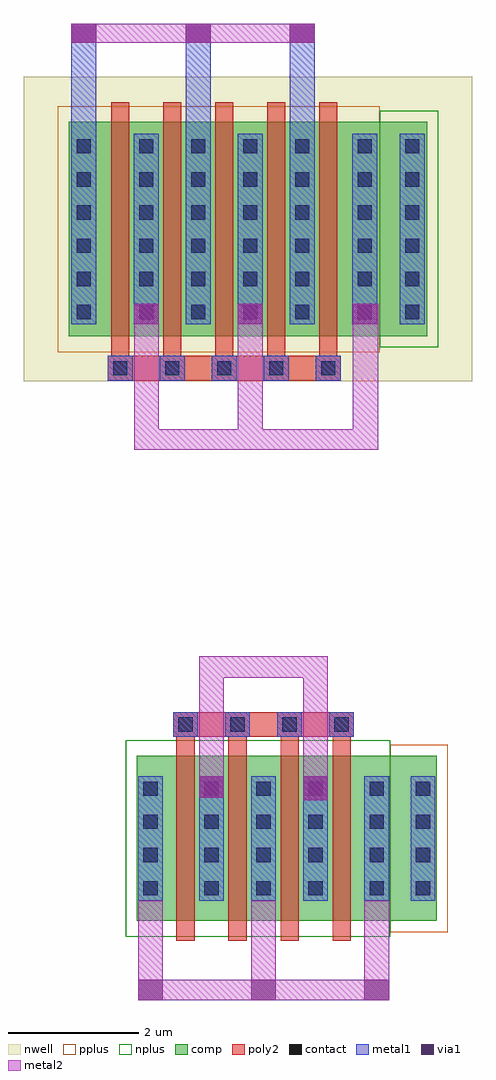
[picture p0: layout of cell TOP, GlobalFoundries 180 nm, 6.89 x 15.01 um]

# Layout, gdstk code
import gdstk
lib = gdstk.Library(unit=1e-6, precision=5e-09)
def R(c, l, rs):  # rectangles x0, y0, x1, y1
    for r in rs: c.add(gdstk.rectangle(r[:2], r[2:], *l))
def A(c, l, x, y, w, h, nx, ny, dx, dy):  # array of equal rectangles
    R(c, l, [(x+i*dx, y+j*dy, x+i*dx+w, y+j*dy+h) for i in range(nx) for j in range(ny)])
nwell = (21, 0)
comp = (22, 0)
poly2 = (30, 0)
pplus = (31, 0)
nplus = (32, 0)
contact = (33, 0)
metal1 = (34, 0)
via1 = (35, 0)
metal2 = (36, 0)

nfet_1 = lib.new_cell('nfet$1')
R(nfet_1, comp, [(-0.42,0,0,2.54), (0,0,3.06,2.54), (3.06,0,3.48,2.54), (3.48,0,4.19,2.54)])
A(nfet_1, poly2, 0.19, -0.3, 0.28, 3.14, 4, 1, 0.8, 0)
A(nfet_1, poly2, 0.15, 2.84, 0.36, 0.36, 4, 1, 0.8, 0)
R(nfet_1, pplus, [(3.48,-0.17,4.36,2.71)])
R(nfet_1, nplus, [(-0.59,-0.24,3.48,2.78)])
A(nfet_1, contact, -0.32, 0.395, 0.22, 0.22, 1, 4, 0, 0.51)
A(nfet_1, contact, 0.62, 0.395, 0.22, 0.22, 3, 4, 0.8, 0.51)
A(nfet_1, contact, 3.16, 0.395, 0.22, 0.22, 1, 4, 0, 0.51)
A(nfet_1, contact, 3.87, 0.395, 0.22, 0.22, 1, 4, 0, 0.51)
A(nfet_1, contact, 0.22, 2.91, 0.22, 0.22, 4, 1, 0.8, 0)
A(nfet_1, metal1, 0.54, 0.315, 0.38, 1.91, 3, 1, 0.8, 0)
A(nfet_1, metal1, 0.14, 2.83, 0.38, 0.38, 4, 1, 0.8, 0)
R(nfet_1, metal1, [(-0.4,0.315,-0.02,2.225), (3.08,0.315,3.46,2.225), (3.79,0.315,4.17,2.225)])

pfet = lib.new_cell('pfet')
R(pfet, nwell, [(-1.15,-0.69,5.74,3.99)])
R(pfet, comp, [(-0.46,0,0,3.3), (0,0,3.86,3.3), (3.86,0,4.32,3.3), (4.32,0,5.05,3.3)])
A(pfet, poly2, 0.14, -0.68, 0.38, 0.38, 5, 1, 0.8, 0)
A(pfet, poly2, 0.19, -0.3, 0.28, 3.9, 5, 1, 0.8, 0)
R(pfet, pplus, [(-0.63,-0.24,4.32,3.54)])
R(pfet, nplus, [(4.32,-0.17,5.22,3.47)])
A(pfet, contact, 0.22, -0.6, 0.22, 0.22, 5, 1, 0.8, 0)
A(pfet, contact, -0.34, 0.265, 0.22, 0.22, 1, 6, 0, 0.51)
A(pfet, contact, 0.62, 0.265, 0.22, 0.22, 4, 6, 0.8, 0.51)
A(pfet, contact, 3.98, 0.265, 0.22, 0.22, 1, 6, 0, 0.51)
A(pfet, contact, 4.71, 0.265, 0.22, 0.22, 1, 6, 0, 0.51)
A(pfet, metal1, 0.14, -0.68, 0.38, 0.38, 5, 1, 0.8, 0)
A(pfet, metal1, 0.54, 0.185, 0.38, 2.93, 4, 1, 0.8, 0)
R(pfet, metal1, [(-0.42,0.185,-0.04,3.115), (3.9,0.185,4.28,3.115), (4.63,0.185,5.01,3.115)])

top = lib.new_cell('TOP')
R(top, poly2, [(-51.145,12.31,-48.365,12.69), (-52.15,17.79,-48.57,18.17)])
R(top, metal1, [(-52.71,21.585,-52.33,23.275), (-50.95,21.585,-50.57,23.275), (-49.35,21.585,-48.97,23.275)])
R(top, via1, [(-51.685,8.265,-51.305,8.58), (-51.685,8.265,-51.305,8.58), (-49.945,8.265,-49.565,8.58), (-49.945,8.265,-49.565,8.58), (-48.205,8.265,-47.825,8.58), (-48.205,8.265,-47.825,8.58), (-49.145,11.34,-48.765,11.705), (-50.745,11.375,-50.365,11.705), (-51.745,18.655,-51.365,18.97), (-50.15,18.655,-49.77,18.97), (-48.385,18.655,-48.005,18.97), (-52.71,22.985,-52.33,23.275), (-50.95,22.985,-50.57,23.275), (-49.35,22.985,-48.97,23.275), (-49.35,22.985,-48.97,23.275)])
R(top, metal2, [(-51.685,8.265,-51.305,9.795), (-51.685,8.265,-51.305,9.795), (-51.685,8.265,-47.825,8.58), (-49.945,8.265,-49.565,9.795), (-49.945,8.265,-49.565,9.795), (-48.205,8.265,-47.825,9.795), (-48.205,8.265,-47.825,9.795), (-49.145,11.34,-48.765,13.55), (-50.745,11.375,-50.365,13.55), (-50.745,13.22,-48.765,13.55), (-51.745,16.73,-51.365,18.97), (-51.73,16.73,-47.99,17.045), (-50.15,16.73,-49.77,18.97), (-48.385,16.73,-47.99,18.97), (-52.71,22.985,-48.97,23.275)])
top.add(gdstk.Reference(nfet_1, (-51.285,9.48)))
top.add(gdstk.Reference(pfet, (-52.29,18.47)))

lib.write_gds('TOP.gds')
